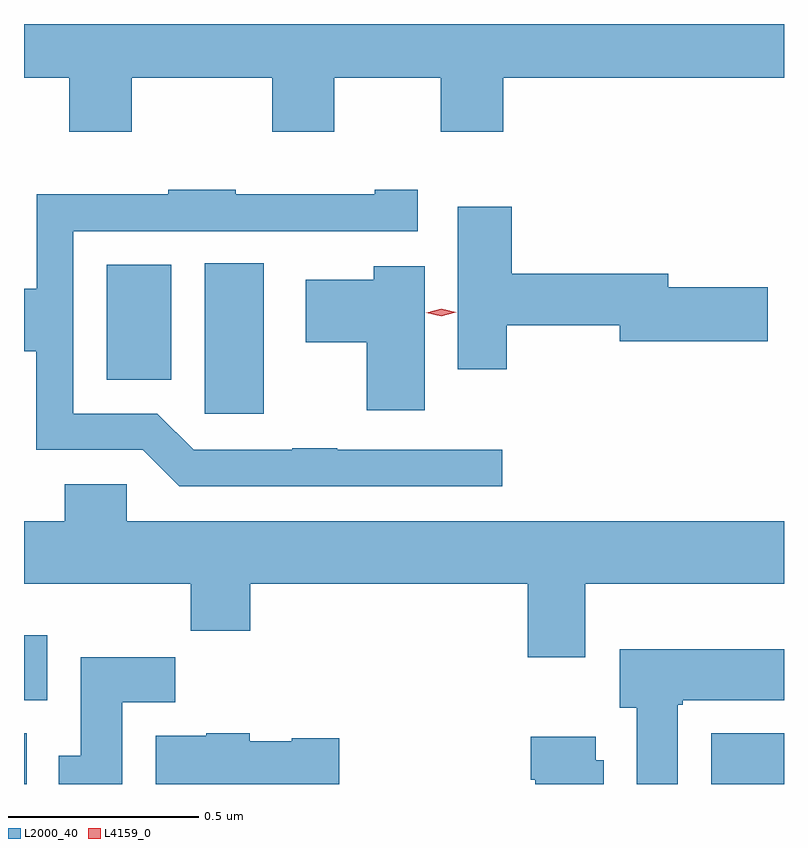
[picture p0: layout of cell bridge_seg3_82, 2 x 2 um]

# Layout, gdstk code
import gdstk
lib = gdstk.Library(unit=1e-6, precision=1e-09)
def R(c, l, rs):  # rectangles x0, y0, x1, y1
    for r in rs: c.add(gdstk.rectangle(r[:2], r[2:], *l))
def P(c, l, *ps):  # polygons
    for p in ps: c.add(gdstk.Polygon(p, *l))
L2000_40 = (2000, 40)
L4159_0 = (4159, 0)

bridge_seg3_82 = lib.new_cell('bridge_seg3_82')
R(bridge_seg3_82, L2000_40, [(421.518,696.393,421.525,696.526), (423.326,696.393,423.518,696.526), (421.518,696.614,421.579,696.784), (421.994,697.368,422.149,697.763), (421.736,697.457,421.906,697.759)])
P(bridge_seg3_82, L2000_40, [(421.801,698.252),(422.171,698.252),(422.171,698.109),(422.335,698.109),(422.335,698.252),(422.615,698.252),(422.615,698.109),(422.779,698.109),(422.779,698.252),(423.518,698.252),(423.518,698.393),(421.518,698.393),(421.518,698.252),(421.637,698.252),(421.637,698.109),(421.801,698.109)],
  [(422.776,697.272),(422.342,697.272),(422.342,697.277),(422.224,697.277),(422.224,697.272),(421.965,697.272),(421.869,697.368),(421.647,697.368),(421.647,697.848),(422.554,697.848),(422.554,697.957),(422.441,697.957),(422.441,697.945),(422.075,697.945),(422.075,697.957),(421.897,697.957),(421.897,697.945),(421.551,697.945),(421.551,697.696),(421.518,697.696),(421.518,697.532),(421.55,697.532),(421.55,697.272),(421.83,697.272),(421.926,697.176),(422.776,697.176)],
  [(422.788,697.6),(423.086,697.6),(423.086,697.558),(423.475,697.558),(423.475,697.7),(423.214,697.7),(423.214,697.736),(422.801,697.736),(422.801,697.912),(422.66,697.912),(422.66,697.485),(422.788,697.485)],
  [(422.572,697.756),(422.438,697.756),(422.438,697.72),(422.259,697.72),(422.259,697.556),(422.42,697.556),(422.42,697.376),(422.572,697.376)],
  [(422.995,696.92),(423.518,696.92),(423.518,697.084),(421.788,697.084),(421.788,697.182),(421.625,697.182),(421.625,697.084),(421.518,697.084),(421.518,696.92),(421.957,696.92),(421.957,696.796),(422.114,696.796),(422.114,696.92),(422.843,696.92),(422.843,696.726),(422.995,696.726)],
  [(423.238,696.601),(423.252,696.601),(423.252,696.614),(423.518,696.614),(423.518,696.748),(423.086,696.748),(423.086,696.594),(423.131,696.594),(423.131,696.393),(423.238,696.393)],
  [(421.777,696.608),(421.916,696.608),(421.916,696.726),(421.667,696.726),(421.667,696.468),(421.61,696.468),(421.61,696.393),(421.777,696.393)],
  [(422.347,696.513),(422.223,696.513),(422.223,696.505),(422.112,696.505),(422.112,696.526),(421.998,696.526),(421.998,696.52),(421.865,696.52),(421.865,696.393),(422.347,696.393)],
  [(423.043,696.456),(423.022,696.456),(423.022,696.517),(422.852,696.517),(422.852,696.404),(422.864,696.404),(422.864,696.393),(423.043,696.393)])
P(bridge_seg3_82, L4159_0, [(422.616,697.624),(422.576,697.633),(422.576,697.633),(422.576,697.633),(422.616,697.644),(422.656,697.634),(422.656,697.634),(422.656,697.634)])

lib.write_gds('bridge_seg3_82.gds')
